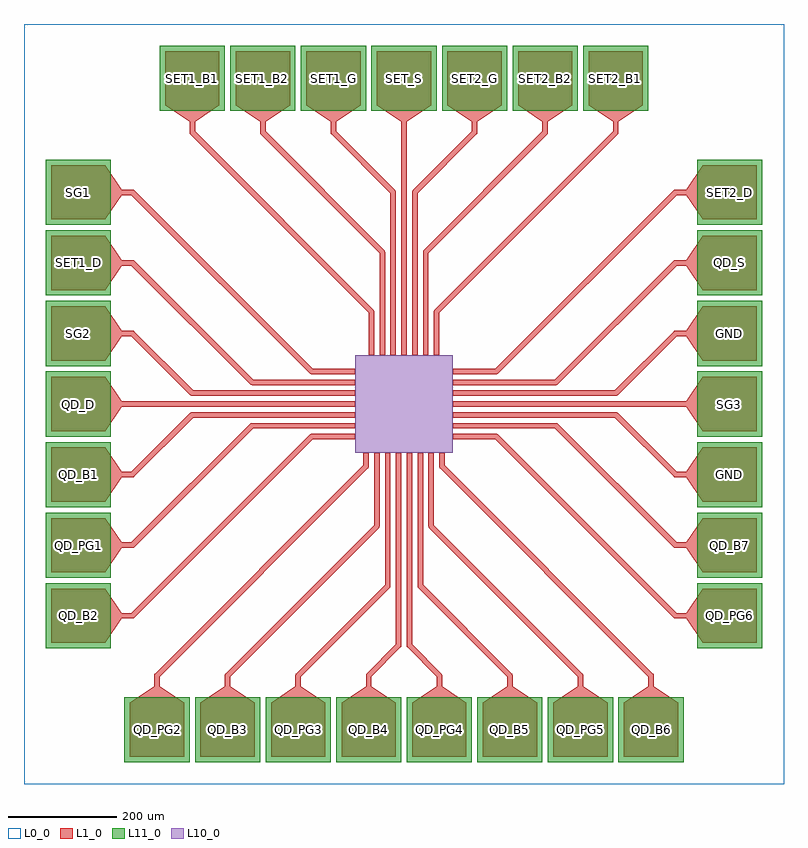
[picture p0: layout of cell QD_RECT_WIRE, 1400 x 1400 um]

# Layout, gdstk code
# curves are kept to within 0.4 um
import gdstk
lib = gdstk.Library(unit=1e-6, precision=1e-09)
def R(c, l, rs):  # rectangles x0, y0, x1, y1
    for r in rs: c.add(gdstk.rectangle(r[:2], r[2:], *l))
def A(c, l, x, y, w, h, nx, ny, dx, dy):  # array of equal rectangles
    R(c, l, [(x+i*dx, y+j*dy, x+i*dx+w, y+j*dy+h) for i in range(nx) for j in range(ny)])
def P(c, l, *ps):  # polygons
    for p in ps: c.add(gdstk.Polygon(p, *l))
L0_0 = (0, 0)
L1_0 = (1, 0)
L10_0 = (10, 0)
L11_0 = (11, 0)

qd_rect_wire = lib.new_cell('QD_RECT_WIRE')
R(qd_rect_wire, L0_0, [(0,0,1400,1400)])
A(qd_rect_wire, L1_0, 195, 50, 100, 100, 8, 1, 130, 0)
A(qd_rect_wire, L1_0, 50, 260, 100, 100, 1, 7, 0, 130)
A(qd_rect_wire, L1_0, 1250, 260, 100, 100, 1, 7, 0, 130)
A(qd_rect_wire, L1_0, 260, 1250, 100, 100, 7, 1, 130, 0)
P(qd_rect_wire, L1_0, [(260,1250),(360,1250),(315,1220),(305,1220)],
  [(390,1250),(490,1250),(445,1220),(435,1220)],
  [(520,1250),(620,1250),(575,1220),(565,1220)],
  [(650,1250),(750,1250),(705,1220),(695,1220)],
  [(780,1250),(880,1250),(835,1220),(825,1220)],
  [(910,1250),(1010,1250),(965,1220),(955,1220)],
  [(1040,1250),(1140,1250),(1095,1220),(1085,1220)],
  [(195,150),(295,150),(250,180),(240,180)],
  [(325,150),(425,150),(380,180),(370,180)],
  [(455,150),(555,150),(510,180),(500,180)],
  [(585,150),(685,150),(640,180),(630,180)],
  [(715,150),(815,150),(770,180),(760,180)],
  [(845,150),(945,150),(900,180),(890,180)],
  [(975,150),(1075,150),(1030,180),(1020,180)],
  [(1105,150),(1205,150),(1160,180),(1150,180)],
  [(150,1040),(150,1140),(180,1095),(180,1085)],
  [(150,910),(150,1010),(180,965),(180,955)],
  [(150,780),(150,880),(180,835),(180,825)],
  [(150,650),(150,750),(180,705),(180,695)],
  [(150,520),(150,620),(180,575),(180,565)],
  [(150,390),(150,490),(180,445),(180,435)],
  [(150,260),(150,360),(180,315),(180,305)],
  [(1250,1040),(1250,1140),(1220,1095),(1220,1085)],
  [(1250,910),(1250,1010),(1220,965),(1220,955)],
  [(1250,780),(1250,880),(1220,835),(1220,825)],
  [(1250,650),(1250,750),(1220,705),(1220,695)],
  [(1250,520),(1250,620),(1220,575),(1220,565)],
  [(1250,390),(1250,490),(1220,445),(1220,435)],
  [(1250,260),(1250,360),(1220,315),(1220,305)],
  [(315,1220),(305,1220),(305,1200),(306.464,1196.464),(635,867.929),(635,790),(645,790),(645,870),(643.967,873.044),(315,1202.071)],
  [(445,1220),(435,1220),(435,1200),(436.033,1196.956),(655,977.929),(655,790),(665,790),(665,980),(664.33,982.5),(445,1202.071)],
  [(575,1220),(565,1220),(565,1200),(566.033,1196.956),(675,1087.929),(675,790),(685,790),(684.83,1091.294),(683.536,1093.536),(575,1202.071)],
  [(705,1220),(695,1220),(695,1200),(695,1200),(695,1200),(695,1200),(695,790),(705,790),(705,1200),(705,1200),(705,1200),(705,1200)],
  [(835,1220),(825,1220),(825,1202.071),(716.464,1093.536),(715.17,1091.294),(715,790),(725,790),(725,1087.929),(833.967,1196.956),(835,1200)],
  [(965,1220),(955,1220),(955,1202.071),(735.67,982.5),(735,980),(735,790),(745,790),(745,977.929),(963.536,1196.464),(965,1200)],
  [(1095,1220),(1085,1220),(1085,1202.071),(756.033,873.044),(755,870),(755,790),(765,790),(765,867.929),(1093.536,1196.464),(1095,1200)],
  [(240,180),(250,180),(250,197.929),(633.536,581.464),(635,585),(635,610),(625,610),(625,587.071),(241.464,203.536),(240,200)],
  [(370,180),(380,180),(380,197.929),(654.33,472.5),(655,475),(655,610),(645,610),(645,477.071),(371.464,203.536),(370,200)],
  [(500,180),(510,180),(510,197.929),(674.619,363.087),(675,610),(665,610),(665,367.071),(501.464,203.536),(500,200)],
  [(630,180),(640,180),(640,197.929),(693.536,251.464),(694.957,254.347),(695,610),(685,610),(685,257.071),(631.033,203.044),(630,200)],
  [(760,180),(770,180),(770,200),(769.33,202.5),(715,257.071),(715,610),(705,610),(705.043,254.347),(706.464,251.464),(760,197.929)],
  [(890,180),(900,180),(900,200),(898.967,203.044),(735,367.071),(735,610),(725,610),(725.381,363.087),(890,197.929)],
  [(1020,180),(1030,180),(1030,200),(1028.536,203.536),(755,477.071),(755,610),(745,610),(745,475),(745.67,472.5),(1020,197.929)],
  [(1150,180),(1160,180),(1160,200),(1158.536,203.536),(775,587.071),(775,610),(765,610),(765,585),(766.464,581.464),(1150,197.929)],
  [(180,1095),(180,1085),(197.929,1085),(526.956,756.033),(530,755),(610,755),(610,765),(532.071,765),(203.536,1093.536),(200,1095)],
  [(180,965),(180,955),(197.929,955),(417.5,735.67),(420,735),(610,735),(610,745),(422.071,745),(203.536,963.536),(200,965)],
  [(180,835),(180,825),(197.929,825),(306.464,716.464),(308.706,715.17),(610,715),(610,725),(312.071,725),(203.044,833.967),(200,835)],
  [(180,705),(180,695),(200,695),(200,695),(200,695),(200,695),(610,695),(610,705),(200,705),(200,705),(200,705),(200,705)],
  [(180,575),(180,565),(200,565),(203.044,566.033),(312.071,675),(610,675),(610,685),(308.706,684.83),(306.464,683.536),(197.929,575)],
  [(180,445),(180,435),(200,435),(203.044,436.033),(422.071,655),(610,655),(610,665),(420,665),(417.5,664.33),(197.929,445)],
  [(180,315),(180,305),(200,305),(203.536,306.464),(532.071,635),(610,635),(610,645),(530,645),(526.956,643.967),(197.929,315)],
  [(1220,1085),(1220,1095),(1200,1095),(1196.464,1093.536),(867.929,765),(790,765),(790,755),(870,755),(873.044,756.033),(1202.071,1085)],
  [(1220,955),(1220,965),(1200,965),(1196.956,963.967),(977.929,745),(790,745),(790,735),(980,735),(982.5,735.67),(1202.071,955)],
  [(1220,825),(1220,835),(1200,835),(1196.956,833.967),(1087.929,725),(790,725),(790,715),(1091.294,715.17),(1093.536,716.464),(1202.071,825)],
  [(1220,695),(1220,705),(1200,705),(1200,705),(1200,705),(1200,705),(790,705),(790,695),(1200,695),(1200,695),(1200,695),(1200,695)],
  [(1220,565),(1220,575),(1202.071,575),(1093.536,683.536),(1091.294,684.83),(790,685),(790,675),(1087.929,675),(1196.956,566.033),(1200,565)],
  [(1220,435),(1220,445),(1202.071,445),(982.5,664.33),(980,665),(790,665),(790,655),(977.929,655),(1196.464,436.464),(1200,435)],
  [(1220,305),(1220,315),(1202.071,315),(873.044,643.967),(870,645),(790,645),(790,635),(867.929,635),(1196.464,306.464),(1200,305)])
R(qd_rect_wire, L10_0, [(610,610,790,790)])
A(qd_rect_wire, L11_0, 185, 40, 120, 120, 8, 1, 130, 0)
A(qd_rect_wire, L11_0, 40, 250, 120, 120, 1, 7, 0, 130)
A(qd_rect_wire, L11_0, 1240, 250, 120, 120, 1, 7, 0, 130)
A(qd_rect_wire, L11_0, 250, 1240, 120, 120, 7, 1, 130, 0)
qd_rect_wire.add(gdstk.Label('SET1_B1', (310,1300), layer=2, texttype=0))
qd_rect_wire.add(gdstk.Label('SET1_B2', (440,1300), layer=2, texttype=0))
qd_rect_wire.add(gdstk.Label('SET1_G', (570,1300), layer=2, texttype=0))
qd_rect_wire.add(gdstk.Label('SET_S', (700,1300), layer=2, texttype=0))
qd_rect_wire.add(gdstk.Label('SET2_G', (830,1300), layer=2, texttype=0))
qd_rect_wire.add(gdstk.Label('SET2_B2', (960,1300), layer=2, texttype=0))
qd_rect_wire.add(gdstk.Label('SET2_B1', (1090,1300), layer=2, texttype=0))
qd_rect_wire.add(gdstk.Label('QD_PG2', (245,100), layer=2, texttype=0))
qd_rect_wire.add(gdstk.Label('QD_B3', (375,100), layer=2, texttype=0))
qd_rect_wire.add(gdstk.Label('QD_PG3', (505,100), layer=2, texttype=0))
qd_rect_wire.add(gdstk.Label('QD_B4', (635,100), layer=2, texttype=0))
qd_rect_wire.add(gdstk.Label('QD_PG4', (765,100), layer=2, texttype=0))
qd_rect_wire.add(gdstk.Label('QD_B5', (895,100), layer=2, texttype=0))
qd_rect_wire.add(gdstk.Label('QD_PG5', (1025,100), layer=2, texttype=0))
qd_rect_wire.add(gdstk.Label('QD_B6', (1155,100), layer=2, texttype=0))
qd_rect_wire.add(gdstk.Label('SG1', (100,1090), layer=2, texttype=0))
qd_rect_wire.add(gdstk.Label('SET1_D', (100,960), layer=2, texttype=0))
qd_rect_wire.add(gdstk.Label('SG2', (100,830), layer=2, texttype=0))
qd_rect_wire.add(gdstk.Label('QD_D', (100,700), layer=2, texttype=0))
qd_rect_wire.add(gdstk.Label('QD_B1', (100,570), layer=2, texttype=0))
qd_rect_wire.add(gdstk.Label('QD_PG1', (100,440), layer=2, texttype=0))
qd_rect_wire.add(gdstk.Label('QD_B2', (100,310), layer=2, texttype=0))
qd_rect_wire.add(gdstk.Label('SET2_D', (1300,1090), layer=2, texttype=0))
qd_rect_wire.add(gdstk.Label('QD_S', (1300,960), layer=2, texttype=0))
qd_rect_wire.add(gdstk.Label('GND', (1300,830), layer=2, texttype=0))
qd_rect_wire.add(gdstk.Label('SG3', (1300,700), layer=2, texttype=0))
qd_rect_wire.add(gdstk.Label('GND', (1300,570), layer=2, texttype=0))
qd_rect_wire.add(gdstk.Label('QD_B7', (1300,440), layer=2, texttype=0))
qd_rect_wire.add(gdstk.Label('QD_PG6', (1300,310), layer=2, texttype=0))

lib.write_gds('QD_RECT_WIRE.gds')
